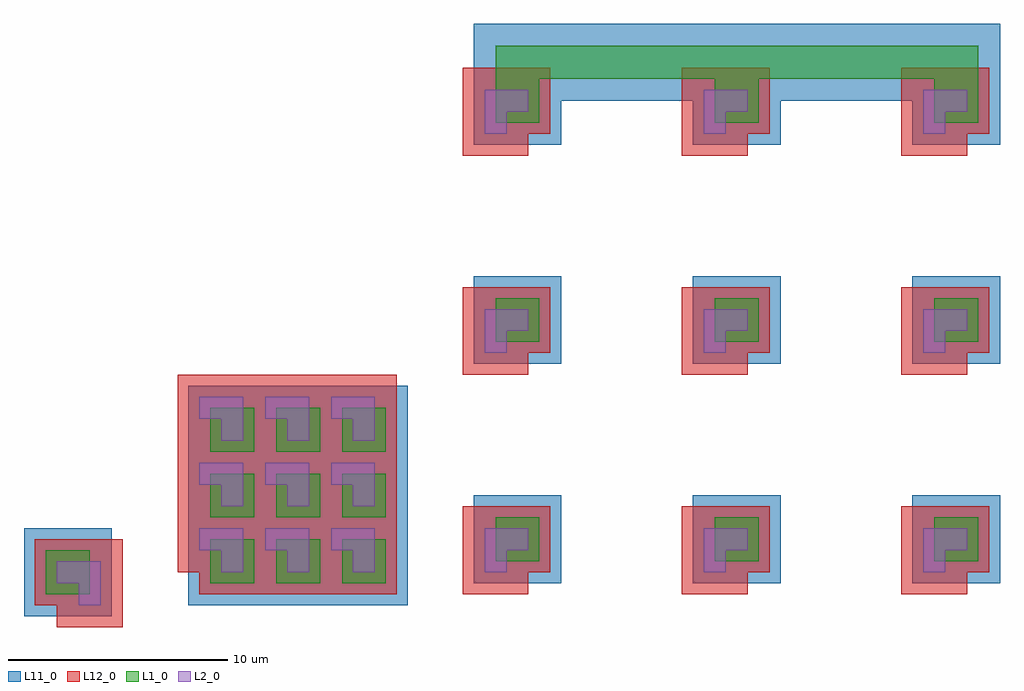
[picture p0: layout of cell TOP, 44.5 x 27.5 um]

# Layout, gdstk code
from math import pi, radians
import gdstk
lib = gdstk.Library(unit=1e-6, precision=1e-09)
def R(c, l, rs):  # rectangles x0, y0, x1, y1
    for r in rs: c.add(gdstk.rectangle(r[:2], r[2:], *l))
def A(c, l, x, y, w, h, nx, ny, dx, dy):  # array of equal rectangles
    R(c, l, [(x+i*dx, y+j*dy, x+i*dx+w, y+j*dy+h) for i in range(nx) for j in range(ny)])
def P(c, l, *ps):  # polygons
    for p in ps: c.add(gdstk.Polygon(p, *l))
L1_0 = (1, 0)
L2_0 = (2, 0)
L11_0 = (11, 0)
L12_0 = (12, 0)

c_b = lib.new_cell('B')
R(c_b, L1_0, [(-1,-1,1,1)])
R(c_b, L2_0, [(-0.5,-0.5,0.5,0.5), (0.5,-0.5,1.5,1.5)])
P(c_b, L12_0, [(-1.5,-1.5),(-1.5,1.5),(-0.5,1.5),(-0.5,2.5),(2.5,2.5),(2.5,-1.5)])

top = lib.new_cell('TOP')
R(top, L1_0, [(22,25,44,26.5)])
A(top, L11_0, 8, 1, 4, 4, 3, 3, 3, 3)
A(top, L11_0, 21, 2, 4, 4, 3, 2, 10, 10)
R(top, L11_0, [(0.5,0.5,4.5,4.5)])
P(top, L11_0, [(21,22),(21,27.5),(45,27.5),(45,22),(41,22),(41,24),(35,24),(35,22),(31,22),(31,24),(25,24),(25,22)])
top.add(gdstk.Reference(c_b, (2.5,2.5), x_reflection=True))
r = gdstk.Reference(c_b, (16,3), rotation=pi/2); r.repetition = gdstk.Repetition(3, 3, v1=(0,3), v2=(-3,0)); top.add(r)
r = gdstk.Reference(c_b, (43,24), rotation=pi); r.repetition = gdstk.Repetition(3, 3, v1=(-10,0), v2=(0,-10)); top.add(r)

lib.write_gds('TOP.gds')
